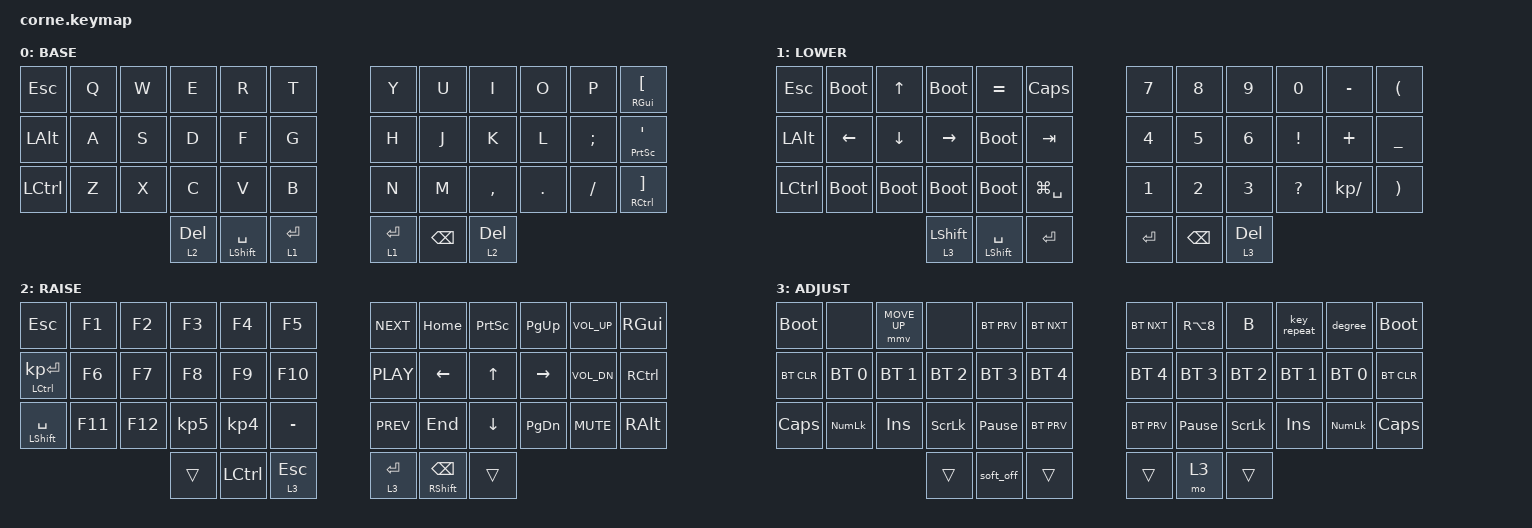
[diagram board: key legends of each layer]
/*
 * Copyright (c) 2020 The ZMK Contributors
 *
 * SPDX-License-Identifier: MIT
 */

#include <behaviors/mouse_keys.dtsi>
#include "mouse.dtsi"
#include <behaviors.dtsi>
#include <dt-bindings/zmk/bt.h>
#include <dt-bindings/zmk/keys.h>
#include <dt-bindings/zmk/pointing.h>

#define BASE   0
#define LOWER  1
#define RAISE  2
#define ADJUST 3

&lt { quick_tap_ms = <220>; };

&mt { quick_tap_ms = <220>; };

/ {
    macros {
        numdot: numdot {
            label = "ZM_numdot";
            compatible = "zmk,behavior-macro";
            #binding-cells = <0>;
            wait-ms = <40>;
            tap-ms = <40>;
            bindings =
                <&macro_press>,
                <&kp LALT>,
                <&macro_tap>,
                <&kp KP_N4 &kp KP_N6>,
                <&macro_release>,
                <&kp LALT>;
        };

        grtsgn: grtsgn {
            label = "ZM_grtsgn";
            compatible = "zmk,behavior-macro";
            #binding-cells = <0>;
            wait-ms = <40>;
            tap-ms = <40>;
            bindings =
                <&macro_press>,
                <&kp LALT>,
                <&macro_tap>,
                <&kp KP_N6 &kp KP_N2>,
                <&macro_release>,
                <&kp LALT>;
        };

        cprght: cprght {
            label = "ZM_cprght";
            compatible = "zmk,behavior-macro";
            #binding-cells = <0>;
            wait-ms = <40>;
            tap-ms = <40>;
            bindings =
                <&macro_press>,
                <&kp LALT>,
                <&macro_tap>,
                <&kp KP_N0 &kp KP_N1 &kp KP_N6 &kp KP_N9>,
                <&macro_release>,
                <&kp LALT>;
        };

        degree: degree {
            label = "ZM_degree";
            compatible = "zmk,behavior-macro";
            #binding-cells = <0>;
            wait-ms = <40>;
            tap-ms = <40>;
            bindings =
                <&macro_press>,
                <&kp LALT>,
                <&macro_tap>,
                <&kp KP_N0 &kp KP_N1 &kp KP_N7 &kp KP_N6>,
                <&macro_release>,
                <&kp LALT>;
        };

        quote: quote {
            label = "ZM_quote";
            compatible = "zmk,behavior-macro";
            #binding-cells = <0>;
            wait-ms = <40>;
            tap-ms = <40>;
            bindings =
                <&macro_press>,
                <&kp LALT>,
                <&macro_tap>,
                <&kp KP_N3 &kp KP_N4>,
                <&macro_release>,
                <&kp LALT>;
        };

        euro: euro {
            label = "ZM_euro";
            compatible = "zmk,behavior-macro";
            #binding-cells = <0>;
            wait-ms = <40>;
            tap-ms = <40>;
            bindings =
                <&macro_press>,
                <&kp LALT>,
                <&macro_tap>,
                <&kp KP_N0 &kp KP_N1 &kp KP_N2 &kp KP_N8>,
                <&macro_release>,
                <&kp LALT>;
        };

        numcomma: numcomma {
            label = "ZM_numcomma";
            compatible = "zmk,behavior-macro";
            #binding-cells = <0>;
            wait-ms = <40>;
            tap-ms = <40>;
            bindings =
                <&macro_press>,
                <&kp LALT>,
                <&macro_tap>,
                <&kp KP_N4 &kp KP_N4>,
                <&macro_release>,
                <&kp LALT>;
        };

        lguillement: lguillement {
            label = "ZM_lguillement";
            compatible = "zmk,behavior-macro";
            #binding-cells = <0>;
            wait-ms = <40>;
            tap-ms = <40>;
            bindings =
                <&macro_press>,
                <&kp LALT>,
                <&macro_tap>,
                <&kp KP_N0 &kp KP_N1 &kp KP_N7 &kp KP_N1>,
                <&macro_release>,
                <&kp LALT>;
        };

        rguillement: rguillement {
            label = "ZM_rguillement";
            compatible = "zmk,behavior-macro";
            #binding-cells = <0>;
            wait-ms = <40>;
            tap-ms = <40>;
            bindings =
                <&macro_press>,
                <&kp LALT>,
                <&macro_tap>,
                <&kp KP_N0 &kp KP_N1 &kp KP_N8 &kp KP_N7>,
                <&macro_release>,
                <&kp LALT>;
        };

        lbracket: lbracket {
            label = "ZM_lbracket";
            compatible = "zmk,behavior-macro";
            #binding-cells = <0>;
            wait-ms = <40>;
            tap-ms = <40>;
            bindings =
                <&macro_press>,
                <&kp LALT>,
                <&macro_tap>,
                <&kp KP_N1 &kp KP_N2 &kp KP_N3>,
                <&macro_release>,
                <&kp LALT>;
        };

        rbracket: rbracket {
            label = "ZM_rbracket";
            compatible = "zmk,behavior-macro";
            #binding-cells = <0>;
            wait-ms = <40>;
            tap-ms = <40>;
            bindings =
                <&macro_press>,
                <&kp LALT>,
                <&macro_tap>,
                <&kp KP_N1 &kp KP_N2 &kp KP_N5>,
                <&macro_release>,
                <&kp LALT>;
        };

        colon: colon {
            label = "ZM_colon";
            compatible = "zmk,behavior-macro";
            #binding-cells = <0>;
            wait-ms = <40>;
            tap-ms = <40>;
            bindings =
                <&macro_press>,
                <&kp LALT>,
                <&macro_tap>,
                <&kp KP_N5 &kp KP_N8>,
                <&macro_release>,
                <&kp LALT>;
        };

        semicolon: semicolon {
            label = "ZM_semicolon";
            compatible = "zmk,behavior-macro";
            #binding-cells = <0>;
            wait-ms = <40>;
            tap-ms = <40>;
            bindings =
                <&macro_press>,
                <&kp LALT>,
                <&macro_tap>,
                <&kp KP_N5 &kp KP_N9>,
                <&macro_release>,
                <&kp LALT>;
        };

        question: question {
            label = "ZM_question";
            compatible = "zmk,behavior-macro";
            #binding-cells = <0>;
            wait-ms = <40>;
            tap-ms = <40>;
            bindings =
                <&macro_press>,
                <&kp LALT>,
                <&macro_tap>,
                <&kp KP_N6 &kp KP_N3>,
                <&macro_release>,
                <&kp LALT>;
        };

        lsqbracket: lsqbracket {
            label = "ZM_lsqbracket";
            compatible = "zmk,behavior-macro";
            #binding-cells = <0>;
            wait-ms = <40>;
            tap-ms = <40>;
            bindings =
                <&macro_press>,
                <&kp LALT>,
                <&macro_tap>,
                <&kp KP_N9 &kp KP_N1>,
                <&macro_release>,
                <&kp LALT>;
        };

        rsqbracket: rsqbracket {
            label = "ZM_rsqbracket";
            compatible = "zmk,behavior-macro";
            #binding-cells = <0>;
            wait-ms = <40>;
            tap-ms = <40>;
            bindings =
                <&macro_press>,
                <&kp LALT>,
                <&macro_tap>,
                <&kp KP_N9 &kp KP_N3>,
                <&macro_release>,
                <&kp LALT>;
        };
    };
};

/ {
    combos {
        compatible = "zmk,combos";

        combo_grave {
            timeout-ms = <50>;
            key-positions = <4 5>;
            bindings = <&kp GRAVE>;
        };

        combo_esc_right {
            timeout-ms = <50>;
            key-positions = <19 31>;
            bindings = <&kp ESC>;
        };

        combo_comma {
            timeout-ms = <50>;
            key-positions = <15 16>;
            bindings = <&numcomma>;
        };

        combo_dot {
            timeout-ms = <50>;
            key-positions = <19 20>;
            bindings = <&numdot>;
        };

        combo_esc_left {
            timeout-ms = <50>;
            key-positions = <16 28>;
            bindings = <&kp ESC>;
        };

        combo_del {
            timeout-ms = <50>;
            key-positions = <16 17>;
            bindings = <&kp DEL>;
        };

        combo_lsqbracket {
            timeout-ms = <50>;
            key-positions = <20 21>;
            bindings = <&lsqbracket>;
        };

        combo_rsqbracket {
            timeout-ms = <50>;
            key-positions = <32 33>;
            bindings = <&rsqbracket>;
        };

        combo_numcomma {
            timeout-ms = <50>;
            key-positions = <31 32>;
            bindings = <&numcomma>;
        };

        combo_copy {
            timeout-ms = <50>;
            key-positions = <27 28>;
            bindings = <&kp LC(C)>;
        };

        combo_cut {
            timeout-ms = <50>;
            key-positions = <3 4>;
            bindings = <&kp LC(X)>;
        };

        combo_paste {
            timeout-ms = <50>;
            key-positions = <14 15>;
            bindings = <&kp LC(V)>;
        };
    };
};

/ {
    keymap {
        compatible = "zmk,keymap";

        // ▄▄▄▄▄▄▄▄▄▄▄▄▄▄▄▄▄▄▄▄▄▄▄▄▄▄▄▄▄▄▄▄▄▄▄▄▄▄▄▄▄▄▄▄▄▄▄▄▄▄▄▄▄▄▄▄▄▄▄▄▄▄▄▄▄▄▄▄▄▄▄▄▄▄▄▄▄▄▄▄▄▄▄▄▄▄▄▄▄▄▄▄▄▄▄▄▄▄▄▄▄▄▄▄▄▄▄▄▄▄▄▄▄▄

        base_layer {
            // ┌────────────────────────────────────────────┐

            label = "BASE";

            // └────────────────────────────────────────────┘
            /*
┌───────┬───────┬───────┬───────┬───────┬───────┐                   ┌───────┬───────┬───────┬───────┬───────┬───────┐
│ LGUI/]│   Q   │   W   │   E   │   R   │   T   │                   │   Y   │   U   │   I   │   O   │   P   │RGUI/[ │
├───────┼───────┼───────┼───────┼───────┼───────┤                   ├───────┼───────┼───────┼───────┼───────┼───────┤                      
│ CTRL/`│   A   │   S   │   D   │   F   │   G   │                   │   H   │   J   │   K   │   L   │   ;   │RCTRL/'│
├───────┼───────┼───────┼───────┼───────┼───────┤                   ├───────┼───────┼───────┼───────┼───────┼───────┤
│ LALT/\│   Z   │   X   │   C   │   V   │   B   │                   │   N   │   M   │   ,   │   .   │   /   │RALT/- │
└───────┴───────┴───────┴───────┼───────┼───────┼───────┐   ┌───────┼───────┼───────┼───────┴───────┴───────┴───────┘
                                │ RAISE │ SPACE │ LOWER │   │ LOWER │  BKSP │ RAISE │
                                └───────┴───────┴───────┘   └───────┴───────┴───────┘   
*/

            bindings = <
&kp ESC       &kp Q  &kp W  &kp E      &kp R            &kp T        &kp Y      &kp U          &kp I      &kp O    &kp P     &mt RGUI LBKT
&kp LEFT_ALT  &kp A  &kp S  &kp D      &kp F            &kp G        &kp H      &kp J          &kp K      &kp L    &kp SEMI  &mt PRINTSCREEN SQT
&kp LCTRL     &kp Z  &kp X  &kp C      &kp V            &kp B        &kp N      &kp M          &kp COMMA  &kp DOT  &kp FSLH  &mt RIGHT_CONTROL RIGHT_BRACKET
                            &lt 2 DEL  &mt LSHFT SPACE  &lt 1 RET    &lt 1 RET  &kp BACKSPACE  &lt 2 DEL
            >;
        };

        // ▄▄▄▄▄▄▄▄▄▄▄▄▄▄▄▄▄▄▄▄▄▄▄▄▄▄▄▄▄▄▄▄▄▄▄▄▄▄▄▄▄▄▄▄▄▄▄▄▄▄▄▄▄▄▄▄▄▄▄▄▄▄▄▄▄▄▄▄▄▄▄▄▄▄▄▄▄▄▄▄▄▄▄▄▄▄▄▄▄▄▄▄▄▄▄▄▄▄▄▄▄▄▄▄▄▄▄▄▄▄▄▄▄▄

        lower_layer {
            // ┌────────────────────────────────────────────┐

            label = "LOWER";

            // └────────────────────────────────────────────┘
            /*
┌───────┬───────┬───────┬───────┬───────┬───────┐                   ┌───────┬───────┬───────┬───────┬───────┬───────┐
│ CAPS  │  F10  │  F9   │  F8   │  F7   │   ~   │                   │   !   │   @   │   #   │   $   │   %   │ RGUI  │
├───────┼───────┼───────┼───────┼───────┼───────┤                   ├───────┼───────┼───────┼───────┼───────┼───────┤                      
│ CTRL  │  F11  │  F3   │  F2   │  F1   │ MENU  │                   │   :   │   ?   │   *   │   (   │   )   │   &   │
├───────┼───────┼───────┼───────┼───────┼───────┤                   ├───────┼───────┼───────┼───────┼───────┼───────┤
│ LALT  │  F12  │  F6   │  F5   │  F4   │ LANG  │                   │   "   │   «   │   »   │   {   │   }   │   ^   │
└───────┴───────┴───────┴───────┼───────┼───────┼───────┐   ┌───────┼───────┼───────┼───────┴───────┴───────┴───────┘
                                │  ADJ  │ LSHFT │   ▼   │   │   ▼   │ RSHFT │  ADJ  │
                                └───────┴───────┴───────┘   └───────┴───────┴───────┘   
*/

            bindings = <
&kp ESC    &bootloader     &kp UP_ARROW    &bootloader      &kp EQUAL        &kp CAPSLOCK     &kp N7        &kp NUMBER_8   &kp NUMBER_9  &kp NUMBER_0  &kp MINUS      &kp LEFT_PARENTHESIS
&kp LALT   &kp LEFT_ARROW  &kp DOWN_ARROW  &kp RIGHT_ARROW  &bootloader      &kp TAB          &kp NUMBER_4  &kp N5         &kp NUMBER_6  &kp EXCL      &kp PLUS       &kp UNDERSCORE
&kp LCTRL  &bootloader     &bootloader     &bootloader      &bootloader      &kp LG(SPACE)    &kp NUMBER_1  &kp NUMBER_2   &kp NUMBER_3  &kp QMARK     &kp KP_DIVIDE  &kp RPAR
                                           &lt 3 LSHFT      &mt LSHFT SPACE  &kp ENTER        &kp ENTER     &kp BACKSPACE  &lt 3 DEL
            >;
        };

        // ▄▄▄▄▄▄▄▄▄▄▄▄▄▄▄▄▄▄▄▄▄▄▄▄▄▄▄▄▄▄▄▄▄▄▄▄▄▄▄▄▄▄▄▄▄▄▄▄▄▄▄▄▄▄▄▄▄▄▄▄▄▄▄▄▄▄▄▄▄▄▄▄▄▄▄▄▄▄▄▄▄▄▄▄▄▄▄▄▄▄▄▄▄▄▄▄▄▄▄▄▄▄▄▄▄▄▄▄▄▄▄▄▄▄		

        raise_layer {
            // ┌────────────────────────────────────────────┐

            label = "RAISE";

            // └────────────────────────────────────────────┘
            /*
┌───────┬───────┬───────┬───────┬───────┬───────┐                   ┌───────┬───────┬───────┬───────┬───────┬───────┐
│ BKSP  │   *   │   9   │   8   │   7   │   +   │                   │ NEXT  │ HOME  │ PSCRN │ PGUP  │ VOLU  │ RGUI  │
├───────┼───────┼───────┼───────┼───────┼───────┤                   ├───────┼───────┼───────┼───────┼───────┼───────┤                      
│ CTRL  │   /   │   3   │   2   │   1   │   0   │                   │ PLAY  │   ←   │   ↑   │   →   │ VOLD  │ CTRL  │
├───────┼───────┼───────┼───────┼───────┼───────┤                   ├───────┼───────┼───────┼───────┼───────┼───────┤
│ ALT/= │   .   │   6   │   5   │   4   │   -   │                   │ PREV  │  END  │   ↓   │ PGDN  │ MUTE  │ RALT  │
└───────┴───────┴───────┴───────┼───────┼───────┼───────┐   ┌───────┼───────┼───────┼───────┴───────┴───────┴───────┘
                                │   ▲   │ LSHFT │  ADJ  │   │  ADJ  │ RSHFT │   ▲   │
                                └───────┴───────┴───────┘   └───────┴───────┴───────┘  
*/

            bindings = <
&kp ESC             &kp F1   &kp F2   &kp F3     &kp F4     &kp F5       &kp C_NEXT  &kp HOME        &kp PSCRN  &kp PG_UP  &kp C_VOL_UP  &kp RGUI
&mt LCTRL KP_ENTER  &kp F6   &kp F7   &kp F8     &kp F9     &kp F10      &kp C_PLAY  &kp LEFT        &kp UP     &kp RIGHT  &kp C_VOL_DN  &kp RCTRL
&mt LSHFT SPACE     &kp F11  &kp F12  &kp KP_N5  &kp KP_N4  &kp MINUS    &kp C_PREV  &kp END         &kp DOWN   &kp PG_DN  &kp C_MUTE    &kp RALT
                                      &trans     &kp LCTRL  &lt 3 ESC    &lt 3 RET   &mt RSHFT BSPC  &trans
            >;
        };

        // ▄▄▄▄▄▄▄▄▄▄▄▄▄▄▄▄▄▄▄▄▄▄▄▄▄▄▄▄▄▄▄▄▄▄▄▄▄▄▄▄▄▄▄▄▄▄▄▄▄▄▄▄▄▄▄▄▄▄▄▄▄▄▄▄▄▄▄▄▄▄▄▄▄▄▄▄▄▄▄▄▄▄▄▄▄▄▄▄▄▄▄▄▄▄▄▄▄▄▄▄▄▄▄▄▄▄▄▄▄▄▄▄▄▄

        adjust_layer {
            // ┌────────────────────────────────────────────┐

            label = "ADJUST";

            // └────────────────────────────────────────────┘
            /*
┌───────┬───────┬───────┬───────┬───────┬───────┐                   ┌───────┬───────┬───────┬───────┬───────┬───────┐
│ BLDR  │       │       │       │       │BT NEXT│                   │BT NEXT│   ₽   │   €   │       │       │  BLDR │
├───────┼───────┼───────┼───────┼───────┼───────┤                   ├───────┼───────┼───────┼───────┼───────┼───────┤                      
│ BTCLR │  BT0  │  BT1  │  BT2  │  BT3  │  BT4  │                   │  BT4  │  BT3  │  BT2  │  BT1  │  BT0  │ BTCLR │
├───────┼───────┼───────┼───────┼───────┼───────┤                   ├───────┼───────┼───────┼───────┼───────┼───────┤
│ CAPS  │ NUMLK │  INS  │ SLCK  │ PAUSE │BT PREV│                   │BT PREV│ PAUSE │ SLCK  │  INS  │ NUMLK │ CAPS  │
└───────┴───────┴───────┴───────┼───────┼───────┼───────┐   ┌───────┼───────┼───────┼───────┴───────┴───────┴───────┘
                                │   ▲   │ POWER │   ▼   │   │   ▼   │ POWER │   ▲   │
                                └───────┴───────┴───────┘   └───────┴───────┴───────┘
*/

            bindings = <
&bootloader  &none         &mmv MOVE_UP  &none         &bt BT_PRV       &bt BT_NXT      &bt BT_NXT    &kp RA(N8)       &kp B         &key_repeat   &degree       &bootloader
&bt BT_CLR   &bt BT_SEL 0  &bt BT_SEL 1  &bt BT_SEL 2  &bt BT_SEL 3     &bt BT_SEL 4    &bt BT_SEL 4  &bt BT_SEL 3     &bt BT_SEL 2  &bt BT_SEL 1  &bt BT_SEL 0  &bt BT_CLR
&kp CAPS     &kp KP_NUM    &kp INS       &kp SLCK      &kp PAUSE_BREAK  &bt BT_PRV      &bt BT_PRV    &kp PAUSE_BREAK  &kp SLCK      &kp INS       &kp KP_NUM    &kp CAPS
                                         &trans        &soft_off        &trans          &trans        &mo 3            &trans
            >;
        };
    };
};
